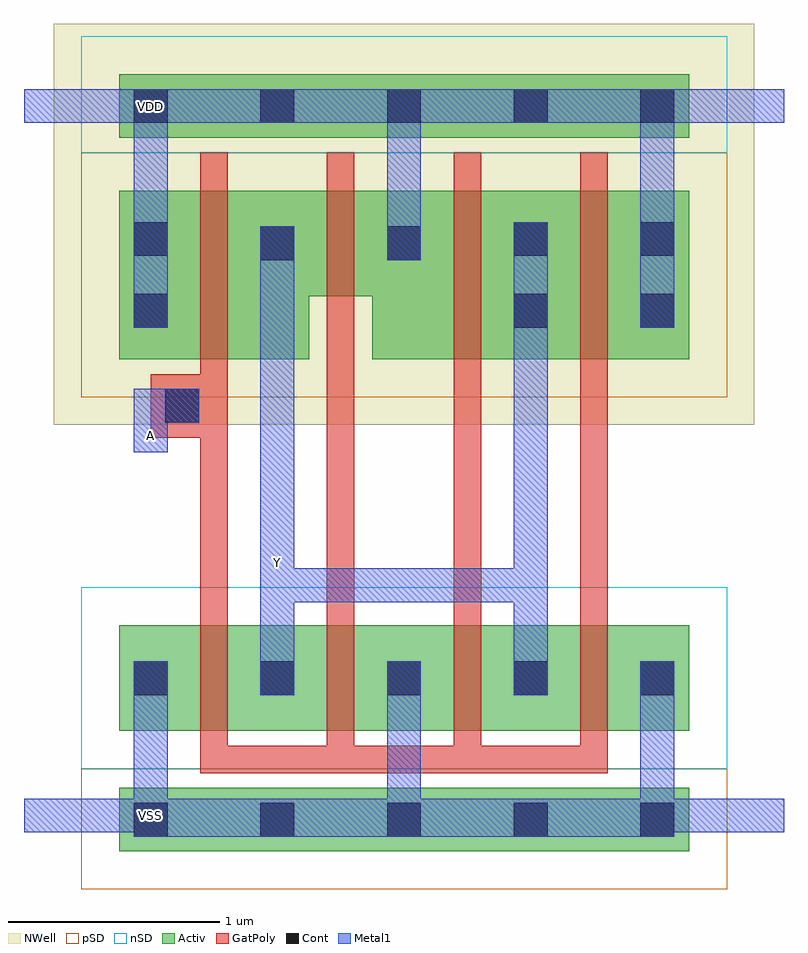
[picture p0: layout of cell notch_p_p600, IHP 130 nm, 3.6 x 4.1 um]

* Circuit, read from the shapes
.subckt notch_p_p600 A VDD VSS Y
XM1 Y A VSS VSS sg13_lv_nmos w=0.5u l=0.13u m=4
XM2 Y A VDD VDD sg13_lv_pmos w=0.8u l=0.13u m=3
XM3 VDD A Y VDD sg13_lv_pmos w=0.5u l=0.13u
.ends

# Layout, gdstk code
import gdstk
lib = gdstk.Library(unit=1e-6, precision=1e-09)
def R(c, l, rs):  # rectangles x0, y0, x1, y1
    for r in rs: c.add(gdstk.rectangle(r[:2], r[2:], *l))
def A(c, l, x, y, w, h, nx, ny, dx, dy):  # array of equal rectangles
    R(c, l, [(x+i*dx, y+j*dy, x+i*dx+w, y+j*dy+h) for i in range(nx) for j in range(ny)])
Activ = (1, 0)
GatPoly = (5, 0)
Cont = (6, 0)
nSD = (7, 0)
Metal1 = (8, 0)
pSD = (14, 0)
NWell = (31, 0)

notch_p_p600 = lib.new_cell('notch_p_p600')
R(notch_p_p600, Activ, [(0.45,-0.17,3.15,0.13), (0.45,0.4,3.15,0.9), (0.45,2.16,1.35,2.96), (1.65,2.16,3.15,2.96), (1.05,2.46,1.95,2.96), (0.45,3.21,3.15,3.51)])
A(notch_p_p600, GatPoly, 0.835, 0.2, 0.13, 2.94, 4, 1, 0.6, 0)
R(notch_p_p600, GatPoly, [(0.835,0.2,2.765,0.33), (0.6,1.79,0.965,2.09)])
A(notch_p_p600, Cont, 0.52, -0.1, 0.16, 0.16, 5, 2, 0.6, 0.67)
A(notch_p_p600, Cont, 0.52, 3.28, 0.16, 0.16, 5, 1, 0.6, 0)
R(notch_p_p600, Cont, [(0.67,1.86,0.83,2.02), (0.52,2.31,0.68,2.47), (2.32,2.31,2.48,2.47), (2.92,2.31,3.08,2.47), (1.12,2.63,1.28,2.79), (1.72,2.63,1.88,2.79), (0.52,2.65,0.68,2.81), (2.32,2.65,2.48,2.81), (2.92,2.65,3.08,2.81)])
R(notch_p_p600, nSD, [(0.27,0.22,3.33,1.08), (0.27,3.14,3.33,3.69)])
A(notch_p_p600, Metal1, 0.52, -0.08, 0.16, 0.81, 3, 1, 1.2, 0)
R(notch_p_p600, Metal1, [(0.52,-0.1,3.08,0.08), (0,-0.08,3.6,0.08), (1.12,0.57,1.28,1.17), (2.32,0.57,2.48,1.17), (1.12,1.01,1.28,2.79), (1.12,1.01,2.48,1.17), (2.32,1.01,2.48,2.81), (0.52,1.72,0.68,2.02), (0.52,1.86,0.83,2.02), (0.52,2.31,0.68,3.44), (2.92,2.31,3.08,3.44), (1.72,2.63,1.88,3.44), (0,3.28,3.6,3.44), (0.52,3.28,3.08,3.44)])
R(notch_p_p600, pSD, [(0.27,-0.35,3.33,0.22), (0.27,1.98,1.53,3.14), (1.47,1.98,3.33,3.14), (0.87,2.28,2.13,3.14)])
R(notch_p_p600, NWell, [(0.14,1.85,1.66,3.75), (1.34,1.85,3.46,3.75), (0.74,2.15,2.26,3.75)])
notch_p_p600.add(gdstk.Label('VSS', (0.6,0), layer=8, texttype=25))
notch_p_p600.add(gdstk.Label('A', (0.6,1.8), layer=8, texttype=25))
notch_p_p600.add(gdstk.Label('VDD', (0.6,3.36), layer=8, texttype=25))
notch_p_p600.add(gdstk.Label('Y', (1.2,1.2), layer=8, texttype=25))

lib.write_gds('notch_p_p600.gds')
